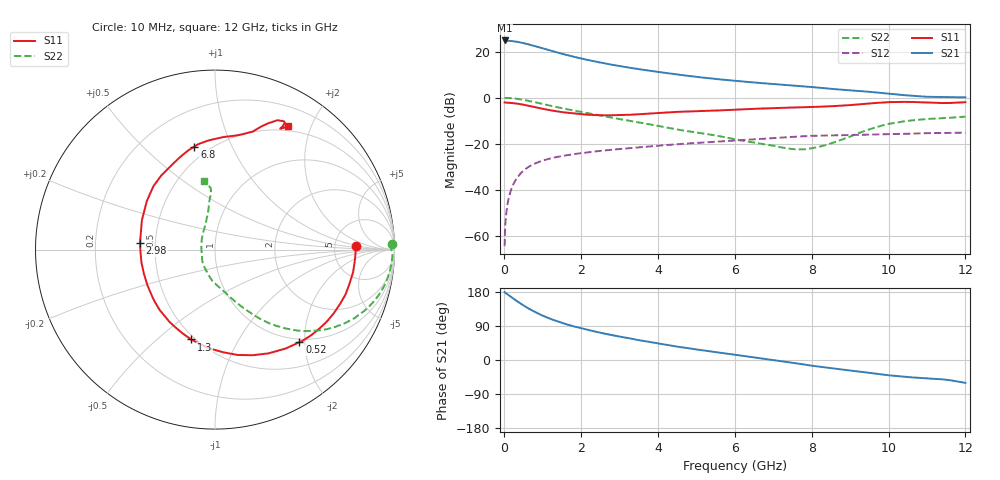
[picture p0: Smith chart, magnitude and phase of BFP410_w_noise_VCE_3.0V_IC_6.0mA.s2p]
! Infineon Technologies  Discrete & RF Semiconductors
! BFP410
! VCE =  3.0 V,  IC =  6.0 mA
! Common Emitter S-Parameters:  Nov 2015
# GHz  S  MA  R  50
!  f  S11  S21  S12  S22
! GHz  MAG  ANG  MAG  ANG  MAG  ANG  MAG  ANG
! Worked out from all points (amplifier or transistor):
!   243 points, 10 MHz to 12 GHz, reference 50 ohm
!   highest |S21| = 24.8 dB at 10 MHz (marker M1)
!   |S21| within 3 dB of that: start of sweep to 917.6 MHz
!   unconditionally stable (mu >= 1): 2.906 GHz to end of sweep
!   at 240 MHz: K = 0.12, MSG = 31.0 dB, |S12| = -37.5 dB
!   at 1.84 GHz: K = 0.69, MSG = 21.0 dB, |S12| = -24.4 dB
!   at 12 GHz: K = 1.06, MAG = 6.1 dB, |S12| = -15.1 dB
!   lowest NFmin = 1.06 dB at 900 MHz
!   S11 on the Smith chart (normalised r, x): 10 MHz: 8.29, +0.77; 520 MHz: 0.94, -1.89; 1.3 GHz: 0.48, -0.65; 2.98 GHz: 0.41, +0.03; 6.8 GHz: 0.42, +0.73; 12 GHz: 0.44, +1.67
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0.01  0.7863 1.3  17.45 179.1  0.0006 103.0  0.9881 1.8
0.025  0.7829 -1.9  17.3 177.7  0.0016 82.8  0.9832 -0.3
0.085  0.7797 -7.8  17.18 173.2  0.0049 84.4  0.9873 -3.8
0.2  0.7692 -18.8  16.91 164.9  0.0112 80.1  0.9746 -9.4
0.3  0.7511 -28.1  16.48 157.6  0.0165 76.4  0.9547 -14.0
0.4  0.7294 -37.1  15.93 150.7  0.0214 72.2  0.9291 -18.3
0.52  0.6981 -47.6  15.15 142.9  0.0268 67.8  0.8923 -23.0
0.7  0.651 -62.6  13.91 132.1  0.034 62.0  0.8322 -29.5
0.88  0.6044 -76.3  12.61 122.7  0.0398 57.2  0.7709 -34.9
1.1  0.5545 -91.9  11.17 112.7  0.0457 52.5  0.6994 -40.4
1.3  0.5178 -104.9  10.01 104.8  0.0503 48.9  0.6421 -44.6
1.62  0.4733 -123.2  8.472 94.2  0.0563 44.8  0.5645 -49.9
2.02  0.4368 -143.2  7.03 83.3  0.0629 41.1  0.4887 -54.9
2.5  0.4159 -165.6  5.792 72.0  0.07 37.3  0.4103 -60.3
2.98  0.4189 175.2  4.885 62.2  0.0766 34.3  0.3459 -65.4
4.1  0.47 142.5  3.535 42.1  0.0923 27.8  0.2357 -78.5
5  0.5101 125.9  2.832 27.8  0.1044 22.3  0.1757 -94.6
6.1  0.5531 110.0  2.286 12.5  0.1186 15.6  0.1206 -116.0
6.8  0.5857 101.3  2.041 2.6  0.1295 11.1  0.0964 -136.4
8.2  0.6363 82.7  1.642 -17.6  0.1498 -1.5  0.086 150.7
10.2  0.8058 63.0  1.18 -42.1  0.1623 -15.9  0.2882 95.6
12  0.799 59.4  1.016 -60.4  0.1749 -30.7  0.3879 99.4
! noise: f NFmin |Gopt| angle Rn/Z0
0.45  1.09  0.2  1  0.22
0.9  1.06  0.19  15  0.18
1.8  1.21  0.13  52  0.16
2.4  1.21  0.11  50  0.19
5.5  2.12  0.32  -125  0.21
10  3.36  0.67  -51  1.79
